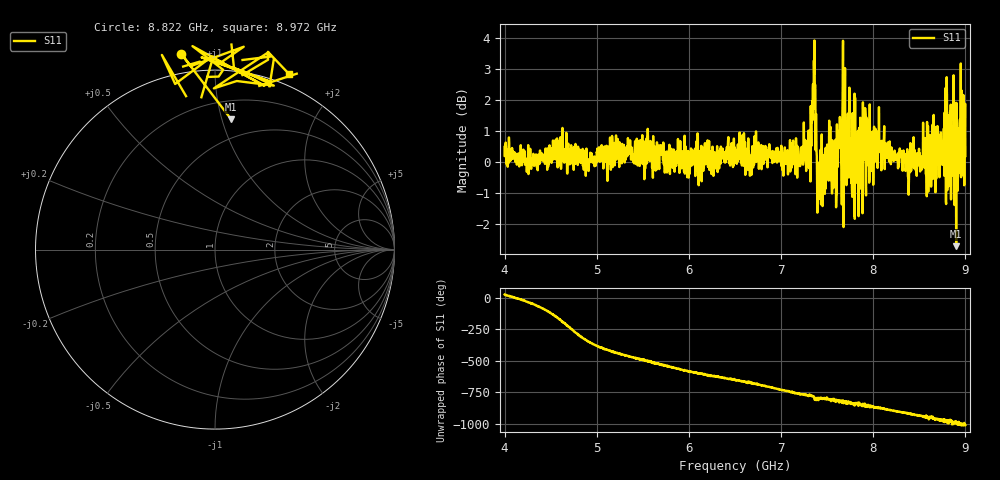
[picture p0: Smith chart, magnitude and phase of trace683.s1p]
! Created with skrf 1.8.0 (http://scikit-rf.org).
# Hz S RI R 50.0
!freq ReS11 ImS11
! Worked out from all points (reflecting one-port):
!   1601 points, 4 GHz to 9 GHz, reference 50 ohm
!   lowest |S11| = -2.7 dB at 8.9 GHz (marker M1), VSWR 6.45, Z = 17.1 + j53.6 ohm
!   phase of S11 starts at 26 deg and turns -1038 deg over the sweep
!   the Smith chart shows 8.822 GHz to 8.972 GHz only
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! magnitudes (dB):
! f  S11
! 4 GHz  0.2
! 4.266 GHz  0.3
! 4.625 GHz  0.9
! 4.897 GHz  0.0
! 5.25 GHz  0.5
! 5.875 GHz  0.0
! 6.5 GHz  0.4
! 7.125 GHz  0.4
! 7.294 GHz  -0.1
! 7.347 GHz  2.5
! 7.366 GHz  2.4
! 7.397 GHz  -1.1
! 7.412 GHz  -1.1
! 7.512 GHz  0.3
! 7.591 GHz  0.7
! 7.65 GHz  1.3
! 7.75 GHz  -0.3
! 7.769 GHz  -0.9
! 7.891 GHz  0.1
! 8.05 GHz  0.7
! 8.375 GHz  -0.3
! 8.766 GHz  1.1
! 8.775 GHz  1.6
! 8.819 GHz  -0.5
! 8.841 GHz  1.8
! 8.9 GHz  -2.7
! 8.959 GHz  2.3
! 9 GHz  0.2
